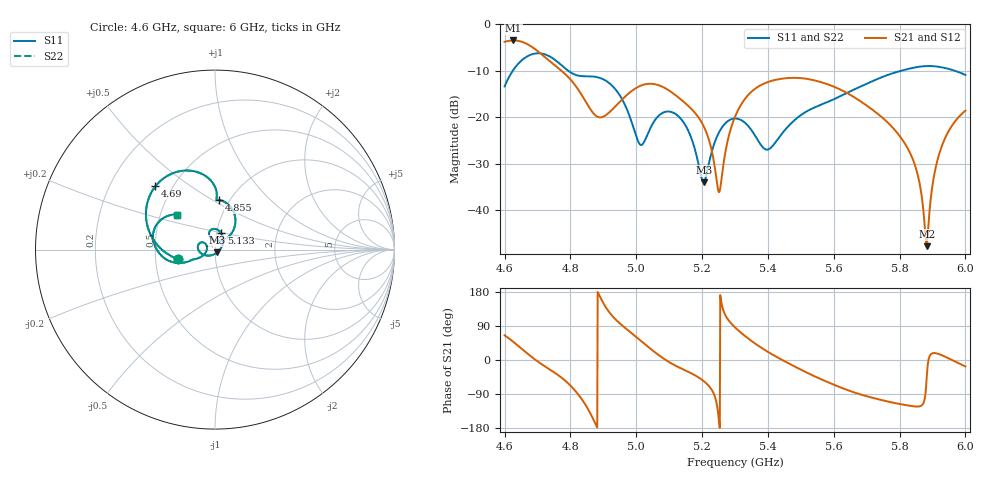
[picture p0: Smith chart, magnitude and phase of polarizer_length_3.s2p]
! TOUCHSTONE file generated by CST MICROWAVE STUDIO
! Date and time: Sun Dec  1 17:16:57 2024
! Project name: test_tuning.cst
! Parameters = {airCoaxOuterDiameter=3; chamferAngle=45; chamferWidth=24; connectorLength=10; drillingHoleDiameter=4.1; feedLength=60; flareDiameter=130; flareLength=70; gratingDistance=0; gratingGap=1.90274; outletLength=30; polarizerLength=68; probe1Diameter=1.3; probe1Distance=14; probe1Length=12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
! Header version: 2024
! Port assignment regex: !\s*Touchstone port\s*([0-9]+)\s*=\s*(CST MWS port|CST DES external port|CST DES block port)\s*(.+)\s* \(\"(.*)\"\)(\s*mode\s*([0-9]+))?.*
! Touchstone port assignment:
! Touchstone port 1 = CST MWS port 1 ("Input1")
! Touchstone port 2 = CST MWS port 2 ("Input2")
# GHz S MA R 50
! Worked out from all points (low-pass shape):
!   1001 points, 4.6 GHz to 6 GHz, reference 50 ohm
!   highest |S21| = -3.44 dB at 4.627 GHz (marker M1); lowest = -47.7 dB at 5.882 GHz (marker M2)
!   |S21| within 3 dB of the highest: start of sweep to 4.713 GHz
!   lowest |S11| = -34.0 dB at 5.205 GHz (marker M3), VSWR 1.04, Z = 51.2 - j1.65 ohm
!   |S11| at or under -10 dB: start of sweep to 4.624 GHz; 4.794 GHz to 5.803 GHz (1.009 GHz wide, 19 % of centre); 5.969 GHz to end of sweep
!   |S22| runs from -34.0 to -6.2 dB; largest |S21 - S12| = 3.2e-07
!   S11 on the Smith chart (normalised r, x): 4.6 GHz: 0.65, -0.07; 4.69 GHz: 0.40, +0.37; 4.855 GHz: 0.89, +0.53; 5.133 GHz: 1.05, +0.20; 6 GHz: 0.61, +0.26
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4.6  0.2153 -165.9  0.6501 65.2  0.6501 65.2  0.2153 -165.9
4.6266  0.3245 175.0  0.6728 47.7  0.6728 47.7  0.3245 175.0
4.6896  0.4843 133.3  0.5523 3.1  0.5523 3.1  0.4843 133.3
4.7624  0.3916 94.2  0.3407 -39.7  0.3407 -39.7  0.3916 94.2
4.8338  0.278 88.2  0.1753 -102.6  0.1753 -102.6  0.278 88.2
4.8548  0.2766 85.7  0.1319 -131.7  0.1319 -131.7  0.2766 85.7
4.8912  0.2645 74.7  0.09995 164.6  0.09995 164.6  0.2645 74.7
4.9402  0.1934 53.9  0.1354 104.4  0.1354 104.4  0.1934 53.9
5.013  0.05061 77.5  0.2189 51.2  0.2189 51.2  0.05061 77.5
5.0676  0.1037 107.6  0.2221 13.3  0.2221 13.3  0.1037 107.6
5.1334  0.09841 69.7  0.1582 -21.1  0.1582 -21.1  0.09841 69.7
5.2048  0.02004 -53.3  0.0803 -55.7  0.0803 -55.7  0.02004 -53.3
5.251  0.0686 -154.7  0.01565 -157.5  0.01565 -157.5  0.0686 -154.7
5.3  0.09728 168.5  0.1014 86.2  0.1014 86.2  0.09728 168.5
5.3994  0.04503 176.3  0.2397 21.8  0.2397 21.8  0.04503 176.3
5.5338  0.1242 -154.8  0.2537 -39.8  0.2537 -39.8  0.1242 -154.8
5.7676  0.2891 -171.0  0.08554 -110.3  0.08554 -110.3  0.2891 -171.0
5.8446  0.3433 173.5  0.0322 -122.4  0.0322 -122.4  0.3433 173.5
5.8824  0.3567 163.9  0.004109 -47.1  0.004109 -47.1  0.3567 163.9
5.9034  0.3554 158.3  0.02212 18.4  0.02212 18.4  0.3554 158.3
5.923  0.3483 153.2  0.04317 14.5  0.04317 14.5  0.3483 153.2
6  0.2859 137.0  0.1182 -17.1  0.1182 -17.1  0.2859 137.0
